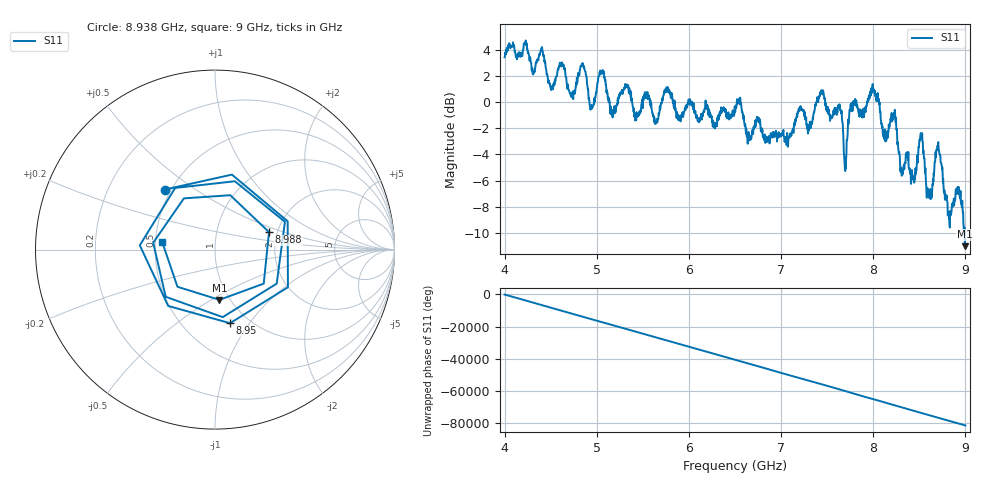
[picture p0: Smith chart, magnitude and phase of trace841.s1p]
! Created with skrf 1.8.0 (http://scikit-rf.org).
# Hz S RI R 50.0
!freq ReS11 ImS11
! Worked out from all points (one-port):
!   1601 points, 4 GHz to 9 GHz, reference 50 ohm
!   lowest |S11| = -11.0 dB at 8.994 GHz (marker M1), VSWR 1.78, Z = 44.7 - j27.2 ohm
!   |S11| at or under -10 dB: 8.983755 GHz to 8.987966 GHz (4.211 MHz wide, 0.0469 % of centre); 8.991844 GHz to end of sweep
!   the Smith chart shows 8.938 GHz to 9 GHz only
!   S11 on the Smith chart (normalised r, x): 8.938 GHz: 0.46, +0.38; 8.95 GHz: 0.82, -0.81; 8.988 GHz: 1.81, +0.39; 9 GHz: 0.54, +0.05
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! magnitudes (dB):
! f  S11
! 4 GHz  3.4
! 4.625 GHz  2.9
! 4.728 GHz  0.4
! 4.853 GHz  2.7
! 4.947 GHz  -0.5
! 5.053 GHz  2.2
! 5.162 GHz  -1.0
! 5.25 GHz  0.7
! 5.875 GHz  -0.9
! 6.5 GHz  -0.7
! 6.653 GHz  -2.8
! 7.125 GHz  -2.1
! 7.441 GHz  0.8
! 7.641 GHz  -0.6
! 7.697 GHz  -5.3
! 7.75 GHz  -0.6
! 8.003 GHz  0.9
! 8.375 GHz  -4.3
! 8.447 GHz  -6.1
! 8.522 GHz  -2.6
! 8.616 GHz  -7.4
! 8.7 GHz  -3.4
! 8.825 GHz  -8.9
! 8.938 GHz  -7.2
! 8.95 GHz  -7.6
! 8.988 GHz  -10.0
! 8.994 GHz  -11.0
! 9 GHz  -10.5
